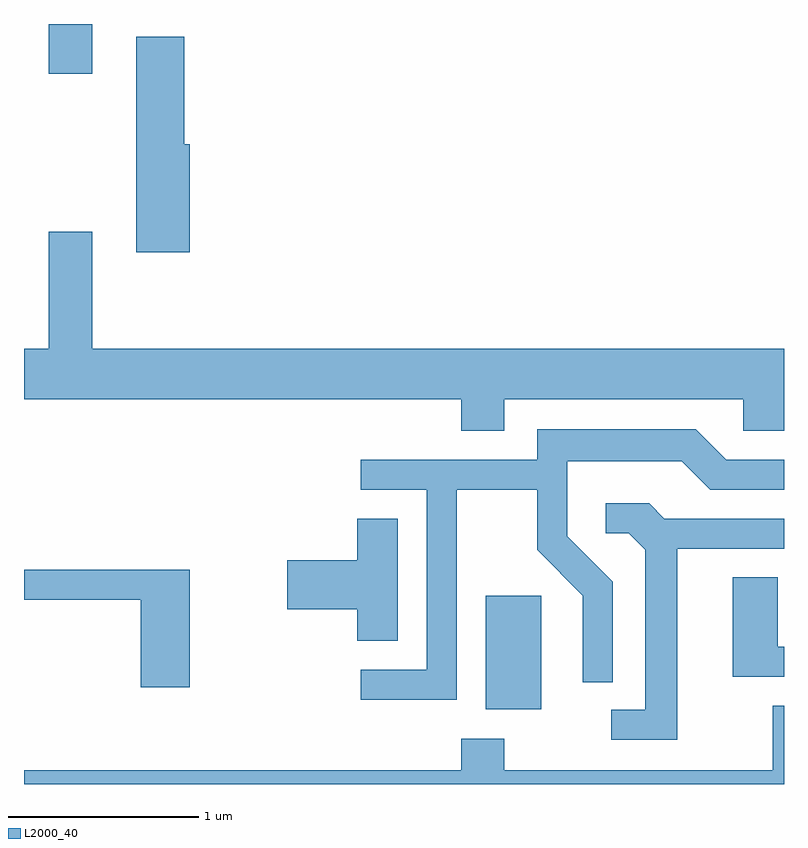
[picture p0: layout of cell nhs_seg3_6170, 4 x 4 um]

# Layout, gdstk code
import gdstk
lib = gdstk.Library(unit=1e-6, precision=1e-09)
def R(c, l, rs):  # rectangles x0, y0, x1, y1
    for r in rs: c.add(gdstk.rectangle(r[:2], r[2:], *l))
def P(c, l, *ps):  # polygons
    for p in ps: c.add(gdstk.Polygon(p, *l))
L2000_40 = (2000, 40)

nhs_seg3_6170 = lib.new_cell('nhs_seg3_6170')
R(nhs_seg3_6170, L2000_40, [(368.041,1224.286,368.334,1224.884), (365.741,1227.631,365.969,1227.892)])
P(nhs_seg3_6170, L2000_40, [(366.484,1227.259),(366.454,1227.259),(366.454,1227.824),(366.201,1227.824),(366.201,1226.691),(366.484,1226.691)],
  [(368.139,1225.916),(369.396,1225.916),(369.396,1225.751),(369.611,1225.751),(369.611,1226.184),(365.969,1226.184),(365.969,1226.799),(365.741,1226.799),(365.741,1226.184),(365.611,1226.184),(365.611,1225.916),(367.911,1225.916),(367.911,1225.751),(368.139,1225.751)],
  [(367.889,1225.441),(368.311,1225.441),(368.311,1225.124),(368.551,1224.884),(368.551,1224.428),(368.709,1224.428),(368.709,1224.957),(368.469,1225.197),(368.469,1225.591),(369.074,1225.591),(369.224,1225.441),(369.611,1225.441),(369.611,1225.599),(369.307,1225.599),(369.147,1225.759),(368.311,1225.759),(368.311,1225.599),(367.383,1225.599),(367.383,1225.441),(367.731,1225.441),(367.731,1224.494),(367.383,1224.494),(367.383,1224.336),(367.889,1224.336)],
  [(369.049,1225.131),(369.611,1225.131),(369.611,1225.289),(368.982,1225.289),(368.902,1225.369),(368.673,1225.369),(368.673,1225.211),(368.794,1225.211),(368.881,1225.124),(368.881,1224.284),(368.703,1224.284),(368.703,1224.126),(369.049,1224.126)],
  [(367.579,1225.289),(367.366,1225.289),(367.366,1225.069),(366.996,1225.069),(366.996,1224.811),(367.366,1224.811),(367.366,1224.646),(367.579,1224.646)],
  [(366.484,1225.019),(365.611,1225.019),(365.611,1224.861),(366.226,1224.861),(366.226,1224.401),(366.484,1224.401)],
  [(369.611,1224.614),(369.579,1224.614),(369.579,1224.979),(369.341,1224.979),(369.341,1224.456),(369.611,1224.456)],
  [(369.611,1224.304),(369.551,1224.304),(369.551,1223.964),(368.139,1223.964),(368.139,1224.129),(367.911,1224.129),(367.911,1223.964),(365.611,1223.964),(365.611,1223.892),(369.611,1223.892)])

lib.write_gds('nhs_seg3_6170.gds')
